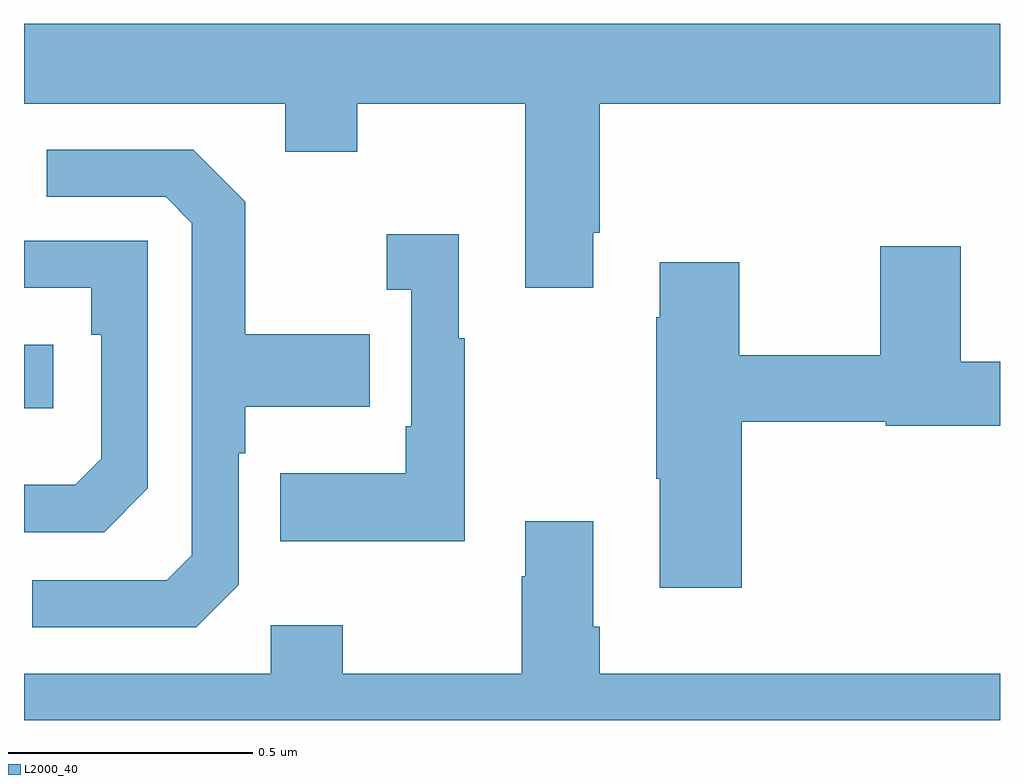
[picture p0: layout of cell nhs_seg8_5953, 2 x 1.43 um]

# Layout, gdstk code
import gdstk
lib = gdstk.Library(unit=1e-6, precision=1e-09)
def R(c, l, rs):  # rectangles x0, y0, x1, y1
    for r in rs: c.add(gdstk.rectangle(r[:2], r[2:], *l))
def P(c, l, *ps):  # polygons
    for p in ps: c.add(gdstk.Polygon(p, *l))
L2000_40 = (2000, 40)

nhs_seg8_5953 = lib.new_cell('nhs_seg8_5953')
R(nhs_seg8_5953, L2000_40, [(190,1118.54,190.06,1118.67)])
P(nhs_seg8_5953, L2000_40, [(191.167,1118.899),(191.18,1118.899),(191.18,1119.164),(192,1119.164),(192,1119.328),(190,1119.328),(190,1119.164),(190.535,1119.164),(190.535,1119.065),(190.683,1119.065),(190.683,1119.164),(191.027,1119.164),(191.027,1118.787),(191.167,1118.787)],
  [(190.44,1118.178),(190.44,1118.447),(190.453,1118.447),(190.453,1118.543),(190.709,1118.543),(190.709,1118.691),(190.453,1118.691),(190.453,1118.963),(190.347,1119.069),(190.047,1119.069),(190.047,1118.973),(190.29,1118.973),(190.344,1118.919),(190.344,1118.238),(190.293,1118.187),(190.017,1118.187),(190.017,1118.091),(190.353,1118.091)],
  [(190.903,1118.683),(190.891,1118.683),(190.891,1118.896),(190.743,1118.896),(190.743,1118.783),(190.794,1118.783),(190.794,1118.503),(190.782,1118.503),(190.782,1118.407),(190.525,1118.407),(190.525,1118.267),(190.903,1118.267)],
  [(190.254,1118.376),(190.254,1118.883),(190,1118.883),(190,1118.787),(190.138,1118.787),(190.138,1118.69),(190.158,1118.69),(190.158,1118.436),(190.105,1118.383),(190,1118.383),(190,1118.286),(190.164,1118.286)],
  [(191.471,1118.512),(191.766,1118.512),(191.766,1118.504),(192,1118.504),(192,1118.635),(191.92,1118.635),(191.92,1118.872),(191.755,1118.872),(191.755,1118.648),(191.466,1118.648),(191.466,1118.839),(191.303,1118.839),(191.303,1118.726),(191.296,1118.726),(191.296,1118.395),(191.303,1118.395),(191.303,1118.172),(191.471,1118.172)],
  [(192,1117.996),(191.18,1117.996),(191.18,1118.092),(191.167,1118.092),(191.167,1118.308),(191.027,1118.308),(191.027,1118.195),(191.02,1118.195),(191.02,1117.996),(190.653,1117.996),(190.653,1118.095),(190.506,1118.095),(190.506,1117.996),(190,1117.996),(190,1117.9),(192,1117.9)])

lib.write_gds('nhs_seg8_5953.gds')
